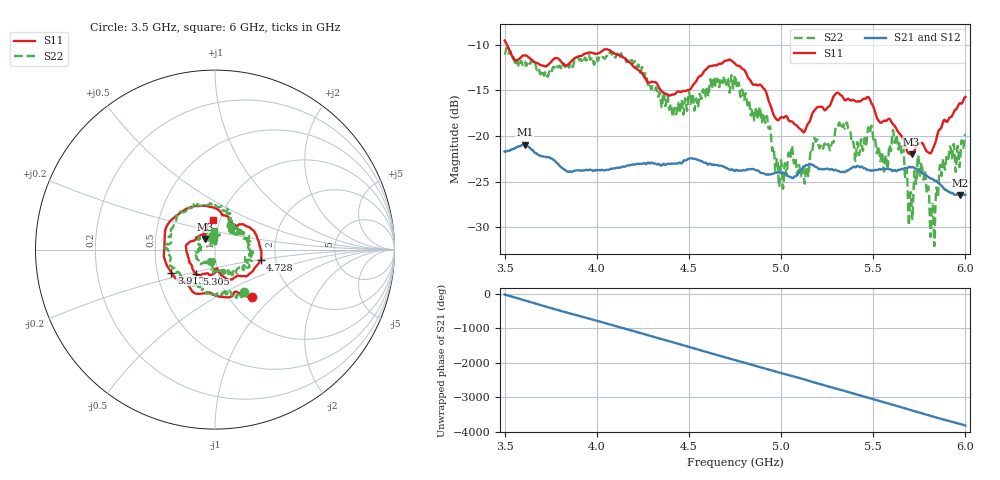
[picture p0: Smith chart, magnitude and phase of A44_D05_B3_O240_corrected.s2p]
! Created with skrf 1.9.0 (http://scikit-rf.org).
# Hz S RI R 50.0
!freq ReS11 ImS11 ReS21 ImS21 ReS12 ImS12 ReS22 ImS22
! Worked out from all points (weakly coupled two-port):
!   1601 points, 3.5 GHz to 6 GHz, reference 50 ohm
!   highest |S21| = -20.97 dB at 3.609 GHz (marker M1); lowest = -26.5 dB at 5.97 GHz (marker M2)
!   lowest |S11| = -22.0 dB at 5.708 GHz (marker M3), VSWR 1.17, Z = 44.6 + j5.28 ohm
!   |S11| at or under -10 dB: 3.513 GHz to end of sweep
!   |S22| runs from -32.1 to -10.3 dB; largest |S21 - S12| = 0.0011
!   S11 on the Smith chart (normalised r, x): 3.5 GHz: 1.27, -0.75; 3.913 GHz: 0.59, -0.16; 4.728 GHz: 1.66, -0.21; 5.305 GHz: 0.78, -0.22; 6 GHz: 0.93, +0.31
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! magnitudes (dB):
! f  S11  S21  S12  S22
! 3.5 GHz  -9.5  -21.7  -21.6  -10.9
! 3.609 GHz  -11.2  -21.0  -21.0  -11.8
! 3.913 GHz  -11.2  -23.8  -23.7  -11.6
! 3.917 GHz  -11.2  -23.8  -23.8  -11.7
! 4.141 GHz  -11.4  -23.3  -23.3  -11.4
! 4.334 GHz  -14.6  -23.1  -23.0  -15.7
! 4.42 GHz  -15.5  -23.0  -23.0  -17.0
! 4.728 GHz  -11.7  -23.7  -23.6  -13.6
! 4.75 GHz  -12.1  -23.8  -23.7  -13.4
! 4.93 GHz  -16.0  -24.2  -24.2  -18.8
! 5 GHz  -18.0  -24.0  -24.0  -22.6
! 5.138 GHz  -19.0  -23.2  -23.1  -23.4
! 5.167 GHz  -17.7  -23.2  -23.1  -21.9
! 5.305 GHz  -15.3  -23.8  -23.7  -19.0
! 5.584 GHz  -18.1  -23.7  -23.6  -21.6
! 5.653 GHz  -20.0  -23.6  -23.5  -21.9
! 5.708 GHz  -22.0  -23.4  -23.3  -27.5
! 5.753 GHz  -20.8  -23.9  -23.8  -24.4
! 5.822 GHz  -21.5  -24.7  -24.6  -27.5
! 5.87 GHz  -19.0  -25.5  -25.4  -24.4
! 5.97 GHz  -16.4  -26.5  -26.4  -23.1
! 6 GHz  -15.7  -26.4  -26.3  -19.9
